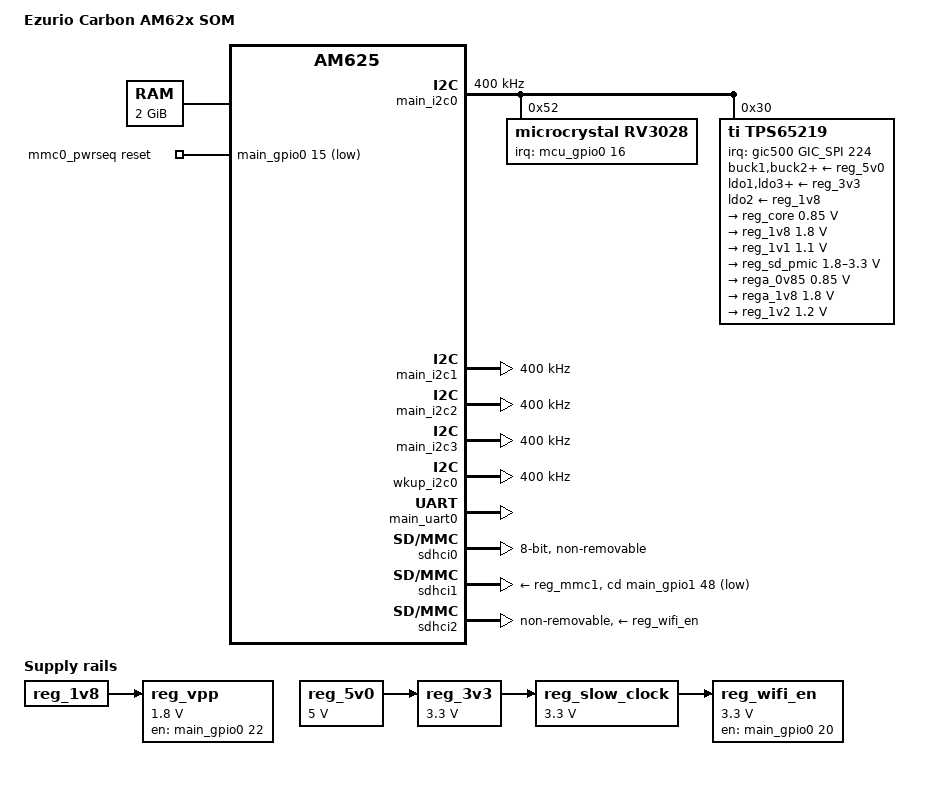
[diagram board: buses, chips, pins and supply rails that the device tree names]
// SPDX-License-Identifier: GPL-2.0
/*
 * AM625 Carbon SOM
 *
 * Copyright (C) 2024 Ezurio LLC
 */

/dts-v1/;

#include <dt-bindings/gpio/gpio.h>
#include <dt-bindings/input/input.h>
#include <dt-bindings/input/gpio-keys.h>

#include "k3-am625.dtsi"

/ {
	compatible = "summit,carbon-am62x", "ti,am625";
	model = "Ezurio Carbon AM62x SOM";

	aliases {
		serial0 = &wkup_uart0;		/* UART_C */
		serial2 = &main_uart0;		/* UART_CON */
		serial3 = &main_uart1;		/* BT */
		serial4 = &main_uart6;		/* UART_A */
		serial5 = &mcu_uart0;		/* UART_B */
		serial6 = &main_uart4;		/* UART_D */
		mmc0 = &sdhci0;			/* EMMC */
		mmc1 = &sdhci1;			/* SD */
		mmc2 = &sdhci2;			/* WIFI */
		spi0 = &ospi0;			/* SPI_A */
		spi1 = &main_spi0;		/* SPI_B */
		spi2 = &mcu_spi0;		/* SPI_C */
		ethernet0 = &cpsw_port1;	/* ETH_A */
		ethernet1 = &cpsw_port2;	/* ETH_B */
		can0 = &main_mcan0;		/* CAN_A */
		can1 = &mcu_mcan0;		/* CAN_B */
		usb0 = &usb0;			/* USB_A */
		usb1 = &usb1;			/* USB_B */
		gpio0 = &main_gpio0;
		gpio1 = &main_gpio1;
		gpio2 = &mcu_gpio0;
		rtc0 = &rv3028;
		rtc1 = &wkup_rtc0;
	};

	chosen {
		stdout-path = "serial2:115200n8";
	};

	opp-table {
		/* Add 1.4GHz OPP for am625-carbon board. Requires VDD_CORE to be at 0.85V */
		opp-1400000000 {
			opp-hz = /bits/ 64 <1400000000>;
			opp-supported-hw = <0x01 0x0004>;
			clock-latency-ns = <6000000>;
		};
	};

	memory@80000000 {
		device_type = "memory";
		/* 2G RAM */
		reg = <0x00000000 0x80000000 0x00000000 0x80000000>;
	};

	reserved_memory: reserved-memory {
		#address-cells = <2>;
		#size-cells = <2>;
		ranges;

		ramoops@9c700000 {
			compatible = "ramoops";
			reg = <0x00 0x9c700000 0x00 0x00100000>;
			record-size = <0x8000>;
			console-size = <0x8000>;
			ftrace-size = <0x00>;
			pmsg-size = <0x8000>;
		};

		/* global cma region */
		linux,cma {
			compatible = "shared-dma-pool";
			reusable;
			size = <0x00 0x20000000>;
			linux,cma-default;
		};

		rtos_ipc_memory_region: ipc-memories@9c800000 {
			compatible = "shared-dma-pool";
			reg = <0x00 0x9c800000 0x00 0x00300000>;
			no-map;
		};

		mcu_m4fss_dma_memory_region: m4f-dma-memory@9cb00000 {
			compatible = "shared-dma-pool";
			reg = <0x00 0x9cb00000 0x00 0x100000>;
			no-map;
		};

		mcu_m4fss_memory_region: m4f-memory@9cc00000 {
			compatible = "shared-dma-pool";
			reg = <0x00 0x9cc00000 0x00 0xe00000>;
			no-map;
		};

		wkup_r5fss0_core0_dma_memory_region: r5f-dma-memory@9da00000 {
			compatible = "shared-dma-pool";
			reg = <0x00 0x9da00000 0x00 0x100000>;
			no-map;
		};

		wkup_r5fss0_core0_memory_region: r5f-memory@9db00000 {
			compatible = "shared-dma-pool";
			reg = <0x00 0x9db00000 0x00 0xc00000>;
			no-map;
		};

		secure_tfa_ddr: tfa@9e780000 {
			reg = <0x00 0x9e780000 0x00 0x80000>;
			alignment = <0x1000>;
			no-map;
		};

		secure_ddr: optee@9e800000 {
			reg = <0x00 0x9e800000 0x00 0x01800000>; /* for OP-TEE */
			alignment = <0x1000>;
			no-map;
		};
	};

	idle-states {
		entry-method = "psci";

		CPU_SLEEP_0: stby {
			compatible = "arm,idle-state";
			idle-state-name = "standby";
			arm,psci-suspend-param = <0x00000001>;
			entry-latency-us = <100>;
			exit-latency-us = <50>;
			min-residency-us = <1000>;
		};
	};

	reg_5v0: regulator-5v0 {
		/* VCC_IN_5V */
		compatible = "regulator-fixed";
		regulator-name = "reg_5v0";
		regulator-min-microvolt = <5000000>;
		regulator-max-microvolt = <5000000>;
		regulator-always-on;
		regulator-boot-on;
	};

	reg_3v3: regulator-3v3 {
		/* output of U4 */
		compatible = "regulator-fixed";
		regulator-name = "reg_3v3";
		vin-supply = <&reg_5v0>;
		regulator-min-microvolt = <3300000>;
		regulator-max-microvolt = <3300000>;
		regulator-always-on;
		regulator-boot-on;
	};

	reg_vpp: regulator-vpp {
		/* TCK107AG,LF U5 */
		compatible = "regulator-fixed";
		regulator-name = "reg_vpp";
		vin-supply = <&reg_1v8>;
		regulator-min-microvolt = <1800000>;
		regulator-max-microvolt = <1800000>;

		pinctrl-names = "default";
		pinctrl-0 = <&main_vpp_en_pins_default>;
		gpios = <&main_gpio0 22 GPIO_ACTIVE_HIGH>;
		enable-active-high;
	};

	reg_vsel_mmc1: regulator-vsel-mmc1 {
		/* Output of U3 TPS6521920WRHBRQ1 VLDO1 */
		compatible = "regulator-gpio";

		vin-supply = <&reg_sd_pmic>;

		regulator-name = "reg_vsel_mmc1";
		regulator-min-microvolt = <1800000>;
		regulator-max-microvolt = <3300000>;

		pinctrl-names = "default";
		pinctrl-0 = <&main_vsel_mmc1_pins_default>;
		gpios = <&main_gpio0 31 GPIO_ACTIVE_LOW>;

		/* initial state must be 3.3V */
		states = <3300000 0x0>, <1800000 0x1>;
		status = "disabled";
	};

	reg_mmc1: regulator-mmc1 {
		compatible = "regulator-fixed";

		regulator-name = "reg_mmc1";
		regulator-min-microvolt = <3300000>;
		regulator-max-microvolt = <3300000>;

		pinctrl-names = "default";
		pinctrl-0 = <&main_mmc1_power_en_default>;
		gpios = <&main_gpio0 25 GPIO_ACTIVE_HIGH>;

		enable-active-high;
		startup-delay-us = <5000>;
		status = "disabled";
	};

	clk_cam_a_hw: clk-cam-a-hw {
		compatible = "pwm-clock";
		status = "disabled";
		#clock-cells = <0>;
		clock-frequency = <24000000>;
		clock-output-names = "clk_cam_a_hw";
		pwms = <&ecap2 0 42 0>; /* 1 / 42 ns = 24 MHz */
	};

	mmc0_pwrseq: pwrseq {
		pinctrl-names = "default";
		pinctrl-0 = <&main_mmc0_reset_pins_default>;

		compatible = "mmc-pwrseq-emmc";
		reset-gpios = <&main_gpio0 15 GPIO_ACTIVE_LOW>;
	};

	reg_slow_clock: regulator-slow-clock {
		compatible = "regulator-fixed-clock";

		regulator-name = "reg_slow_clock";
		regulator-min-microvolt = <3300000>;
		regulator-max-microvolt = <3300000>;

		vin-supply = <&reg_3v3>;
		clocks = <&k3_clks 157 158>;

		startup-delay-us = <1000>;

		pinctrl-names = "default";
		pinctrl-0 = <&mcu_clkout_pins_default>;

		assigned-clocks = <&k3_clks 157 158>;
		assigned-clock-parents = <&k3_clks 157 160>;
	};

	reg_wifi_en: regulator-wifi-en {
		compatible = "regulator-fixed";

		regulator-name = "reg_wifi_en";
		regulator-min-microvolt = <3300000>;
		regulator-max-microvolt = <3300000>;

		vin-supply = <&reg_slow_clock>;

		pinctrl-names = "default";
		pinctrl-0 = <&main_wifi_en_pins_default>;
		gpios = <&main_gpio0 20 GPIO_ACTIVE_HIGH>;
		enable-active-high;

		startup-delay-us = <250000>;
		off-on-delay-us = <100>;
	};

	wifi_wakeup: wifi-wakeup {
		compatible = "gpio-keys";

		status = "disabled";

		pinctrl-names = "default";
		pinctrl-0 = <&main_wifi_wake_default>, <&main_bt_wake_pins_default>;

		wifi-wake {
			label = "Wi-Fi Wake Up";
			linux,code = <KEY_WAKEUP>;
			wakeup-source;

			interrupts-extended = <&main_gpio0 16 IRQ_TYPE_EDGE_FALLING>,
				<&main_pmx0 0x040>;
			interrupt-names = "irq", "wakeup";

			//gpios = <&main_gpio0 16 GPIO_ACTIVE_LOW>;
			//wakeup-event-action = <EV_ACT_ASSERTED>;
		};

		bt-wake {
			label = "BT Wake Up";
			linux,code = <KEY_WAKEUP>;
			wakeup-source;

			interrupts-extended = <&main_gpio0 42 IRQ_TYPE_EDGE_FALLING>,
				<&main_pmx0 0x0ac>;
			interrupt-names = "irq", "wakeup";

			//gpios = <&main_gpio0 42 GPIO_ACTIVE_LOW>;
			//wakeup-event-action = <EV_ACT_ASSERTED>;
		};
	};
};

&cpu0 {
	cpu-idle-states = <&CPU_SLEEP_0>;
};

&cpu1 {
	cpu-idle-states = <&CPU_SLEEP_0>;
};

&cpu2 {
	cpu-idle-states = <&CPU_SLEEP_0>;
};

&cpu3 {
	cpu-idle-states = <&CPU_SLEEP_0>;
};

&cpsw3g {
	pinctrl-names = "default";
	pinctrl-0 = <&main_rgmii1_pins_default>, <&main_rgmii2_pins_default>;

	status = "disabled";

	cpts@3d000 {
		/* MAP HW3_TS_PUSH to GENF1 */
		ti,pps = <2 1>;
	};
};

&cpsw_port1 {
	status = "disabled";
	phy-mode = "rgmii-rxid";

	/delete-property/ mac-address;
	/delete-property/ ti,syscon-efuse;
	nvmem-cells = <&eth_mac0>;
	nvmem-cell-names = "mac-address";
};

&cpsw_port2 {
	status = "disabled";
	phy-mode = "rgmii-rxid";

	/delete-property/ mac-address;
	/delete-property/ ti,syscon-efuse;
	nvmem-cells = <&eth_mac1>;
	nvmem-cell-names = "mac-address";
};

&cpsw3g_mdio {
	pinctrl-names = "default";
	pinctrl-0 = <&main_mdio0_pins_default>;
};

&epwm0 { /* PWM_0 */
	pinctrl-names = "default";
	pinctrl-0 = <&main_epwm0_pins_default>;
};

&epwm1 { /* PWM_1 and PWM_2 */
	pinctrl-names = "default";
	pinctrl-0 = <&main_epwm1_pins_default>;
};

&ecap2 { /* CAM_A_MCK */
	/* ECAP in APWM mode */
	pinctrl-names = "default";
	pinctrl-0 = <&main_ecap2_pins_default>;
};

&mailbox0_cluster0 {
	mbox_m4_0: mbox-m4-0 {
		ti,mbox-rx = <0 0 0>;
		ti,mbox-tx = <1 0 0>;
	};

	mbox_r5_0: mbox-r5-0 {
		ti,mbox-rx = <2 0 0>;
		ti,mbox-tx = <3 0 0>;
	};
};

&mcu_m4fss {
	mboxes = <&mailbox0_cluster0 &mbox_m4_0>;
	memory-region = <&mcu_m4fss_dma_memory_region>,
			<&mcu_m4fss_memory_region>;
};

&wkup_r5fss0_core0 {
	mboxes = <&mailbox0_cluster0 &mbox_r5_0>;
	memory-region = <&wkup_r5fss0_core0_dma_memory_region>,
			<&wkup_r5fss0_core0_memory_region>;
};

&main_rti1 {
	status = "disabled";
};

&main_rti2 {
	status = "disabled";
};

&main_rti3 {
	status = "disabled";
};

&main_rti15 {
	status = "disabled";
};

&main_gpio0 {
	gpio-line-names =
		"","ETH_A_INT","ETH_A_RST","","", 		/* 0 - 4 */
		"","","","","",
		"","","","GPIO_A_0","RGB_VDD_EN",			/* 10 - 14 */
		"EMMC_RESET#","WIFI_WAKE","USB_B_ID","RGB_CS","RGB_RESET#",
		"W_DISABLE1#","W_DISABLE2#","VPP_EN","","",	/* 20 - 24 */
		"SDIO_A_PWR_EN","","","","CAM_A_RST",
		"LVDS_D_VDD_EN","SDIO_A_IOPWR","","LVDS_D_BL_EN","",		/* 30 - 34 */
		"","GPIO_B_3","","GPIO_B_2","ETH_B_RST",
		"","ETH_B_INT","BT_HOST_WAKE","","",		/* 40 - 44 */
		"","","","","",
		"","","","","",					/* 50 - 54 */
		"","","","","",
		"","","","","",					/* 60 - 64 */
		"","","","","",
		"","RGB_BL_EN","CAM_A_PWR","","",				/* 70 - 74 */
		"","","","","",
		"","","","","",					/* 80 - 84 */
		"","","","","",
		"","";						/* 90 - 91 */
};

&main_gpio1 {
	gpio-line-names =
		"","","","","",					/* 0 - 4 */
		"","","","","",
		"","","","","",				/* 10 - 14 */
		"","","","","",
		"","","","","",					/* 20 - 24 */
		"","","","","",
		"USB_A_ID","","","","",					/* 30 - 34 */
		"","","","","",
		"","","","","",					/* 40 - 44 */
		"","","","SDIO_A_CD#","",
		"USB_A_EN","USB_B_EN";						/* 50 - 51 */
};

&main_i2c0 {
	status = "okay";

	pinctrl-names = "default";
	pinctrl-0 = <&main_i2c0_pins_default>;
	clock-frequency = <400000>;

	rv3028: rtc@52 {
		compatible = "microcrystal,rv3028";
		reg = <0x52>;

		pinctrl-names = "default";
		pinctrl-0 = <&mcu_rtc_pins_default>;
		interrupts-extended = <&mcu_gpio0 16 IRQ_TYPE_EDGE_FALLING>;
		interrupt-names = "irq";
		wakeup-source;

		#clock-cells = <0>;

		eeprom {
			compatible = "microcrystal,rv3028-eeprom";
			#address-cells = <1>;
			#size-cells = <1>;

			eth_mac0: mac-address@0 {
				reg = <0x00 0x06>;
			};

			eth_mac1: mac-address@6 {
				reg = <0x06 0x06>;
			};

			ram_type: ram-type@c {
				reg = <0x0c 0x02>;
			};

			radio_type: radio-type@e {
				reg = <0x0e 0x02>;
			};
		};
	};

	tps65219: pmic@30 {
		compatible = "ti,tps65219";
		reg = <0x30>;
		buck1-supply = <&reg_5v0>;
		buck2-supply = <&reg_5v0>;
		buck3-supply = <&reg_5v0>;
		ldo1-supply = <&reg_3v3>;
		ldo2-supply = <&reg_1v8>;
		ldo3-supply = <&reg_3v3>;
		ldo4-supply = <&reg_3v3>;

		pinctrl-names = "default";
		pinctrl-0 = <&main_pmic_irq_pins_default>;

		interrupts-extended = <&gic500 GIC_SPI 224 IRQ_TYPE_LEVEL_HIGH>;

		system-power-controller;
		ti,power-button;

		regulators {
			reg_core: buck1 {
				regulator-name = "reg_core";
				regulator-min-microvolt = <850000>;
				regulator-max-microvolt = <850000>;
				regulator-boot-on;
				regulator-always-on;
			};

			reg_1v8: buck2 {
				regulator-name = "reg_1v8";
				regulator-min-microvolt = <1800000>;
				regulator-max-microvolt = <1800000>;
				regulator-boot-on;
				regulator-always-on;
			};

			reg_1v1: buck3 {
				regulator-name = "reg_1v1";
				regulator-min-microvolt = <1100000>;
				regulator-max-microvolt = <1100000>;
				regulator-boot-on;
				regulator-always-on;
			};

			reg_sd_pmic: ldo1 {
				/*
				 * Regulator is left as is unused, vdd_sd
				 * is controlled via GPIO with bypass config
				 * as per the NVM configuration
				 */
				regulator-name = "reg_sd_pmic";
				regulator-min-microvolt = <1800000>;
				regulator-max-microvolt = <3300000>;
				regulator-allow-bypass;
				regulator-boot-on;
				regulator-always-on;
			};

			rega_0v85: ldo2 {
				regulator-name = "rega_0v85";
				regulator-min-microvolt = <850000>;
				regulator-max-microvolt = <850000>;
				regulator-boot-on;
				regulator-always-on;
			};

			rega_1v8: regulator-u3-ldo3 {
				regulator-name = "rega_1v8";
				regulator-min-microvolt = <1800000>;
				regulator-max-microvolt = <1800000>;
				regulator-boot-on;
				regulator-always-on;
			};

			reg_1v2: ldo4 {
				regulator-name = "reg_1v2";
				regulator-min-microvolt = <1200000>;
				regulator-max-microvolt = <1200000>;
				regulator-boot-on;
				regulator-always-on;
			};
		};
	};
};

&main_i2c1 {
	/* I2C_A */
	pinctrl-names = "default";
	pinctrl-0 = <&main_i2c1_pins_default>;
	clock-frequency = <400000>;
};

&main_i2c2 {
	/* I2C_B */
	pinctrl-names = "default";
	pinctrl-0 = <&main_i2c2_pins_default>;
	clock-frequency = <400000>;
};

&main_i2c3 {
	/* I2C_CAM */
	pinctrl-names = "default";
	pinctrl-0 = <&main_i2c3_pins_default>;
	clock-frequency = <400000>;
};

&wkup_i2c0 {
	/* I2C_C/I2C_DISP */
	pinctrl-names = "default";
	pinctrl-0 = <&wkup_i2c0_pins_default>;
	clock-frequency = <400000>;
};

&main_mcan0 {
	/* CAN_A */
	pinctrl-names = "default";
	pinctrl-0 = <&main_mcan0_pins_default>;
};

&main_pmx0 {
	main_ecap2_pins_default: main-ecap2-default-pins {
		pinctrl-single,pins = <
			AM62X_IOPAD(0x1a4, PIN_OUTPUT, 2) /* CAM_A_MCK (B20) MCASP0_ACLKX.ECAP2_IN_APWM_OUT */
		>;
	};

	main_epwm0_pins_default: main-epwm0-default-pins {
		pinctrl-single,pins = <
			AM62X_IOPAD(0x1b8, PIN_OUTPUT, 2) /* PWM_0 (C13) SPI0_CS1.EHRPWM0_B */
		>;
	};

	main_epwm1_pins_default: main-epwm1-default-pins {
		pinctrl-single,pins = <
			AM62X_IOPAD(0x19c, PIN_OUTPUT, 6) /* LVDS_D_BL_PWM/PWM_1 (B18) MCASP0_AXR1.EHRPWM1_A */
			AM62X_IOPAD(0x1a0, PIN_OUTPUT, 6) /* RGB_BL_PWM/LVDS_E_BL_PWM/PWM_2 (E18) MCASP0_AXR0.EHRPWM1_B */
		>;
	};

	main_i2c0_pins_default: main-i2c0-default-pins {
		pinctrl-single,pins = <
			AM62X_IOPAD(0x1e0, PIN_INPUT_PULLUP, 0) /* (B16) I2C0_SCL */
			AM62X_IOPAD(0x1e4, PIN_INPUT_PULLUP, 0) /* (A16) I2C0_SDA */
		>;
	};

	main_i2c1_pins_default: main-i2c1-default-pins {
		pinctrl-single,pins = <
			AM62X_IOPAD(0x1e8, PIN_INPUT_PULLUP, 0) /* I2C_A_SCL (B17) I2C1_SCL */
			AM62X_IOPAD(0x1ec, PIN_INPUT_PULLUP, 0) /* I2C_A_SDA (A17) I2C1_SDA */
		>;
	};

	main_i2c2_pins_default: main-i2c2-default-pins {
		pinctrl-single,pins = <
			AM62X_IOPAD(0x0b0, PIN_INPUT_PULLUP, 1) /* I2C_B_SCL (K22) GPMC0_CSn2.I2C2_SCL */
			AM62X_IOPAD(0x0b4, PIN_INPUT_PULLUP, 1) /* I2C_B_SDA (K24) GPMC0_CSn3.I2C2_SDA */
		>;
	};

	main_i2c3_pins_default: main-i2c3-default-pins {
		pinctrl-single,pins = <
			AM62X_IOPAD(0x1d0, PIN_INPUT_PULLUP, 2) /* I2C_CAM_A_SCL (A15) UART0_CTSn.I2C3_SCL */
			AM62X_IOPAD(0x1d4, PIN_INPUT_PULLUP, 2) /* I2C_CAM_A_SDA (B15) UART0_RTSn.I2C3_SDA */
		>;
	};

	main_vpp_en_pins_default: main-vpp-en-default-pins {
		pinctrl-single,pins = <
			AM62X_IOPAD(0x058, PIN_OUTPUT, 7) /* VPP_EN (R23) GPMC0_AD7.GPIO0_22 */
		>;
	};

	main_mmc0_reset_pins_default: main-mmc0-reset-default-pins {
		pinctrl-single,pins = <
			AM62X_IOPAD(0x03c, PIN_INPUT, 7) /* (M25) GPMC0_AD0.GPIO0_15 */
		>;
	};

	main_mmc0_pins_default: main-mmc0-default-pins {
		pinctrl-single,pins = <
			AM62X_IOPAD(0x220, PIN_INPUT_PULLUP, 0) /* (Y3) MMC0_CMD */
			AM62X_IOPAD(0x218, PIN_OUTPUT, 0) /* (AB1) MMC0_CLK */
			AM62X_IOPAD(0x214, PIN_INPUT_PULLUP, 0) /* (AA2) MMC0_DAT0 */
			AM62X_IOPAD(0x210, PIN_INPUT_PULLUP, 0) /* (AA1) MMC0_DAT1 */
			AM62X_IOPAD(0x20c, PIN_INPUT_PULLUP, 0) /* (AA3) MMC0_DAT2 */
			AM62X_IOPAD(0x208, PIN_INPUT_PULLUP, 0) /* (Y4) MMC0_DAT3 */
			AM62X_IOPAD(0x204, PIN_INPUT_PULLUP, 0) /* (AB2) MMC0_DAT4 */
			AM62X_IOPAD(0x200, PIN_INPUT_PULLUP, 0) /* (AC1) MMC0_DAT5 */
			AM62X_IOPAD(0x1fc, PIN_INPUT_PULLUP, 0) /* (AD2) MMC0_DAT6 */
			AM62X_IOPAD(0x1f8, PIN_INPUT_PULLUP, 0) /* (AC2) MMC0_DAT7 */
			AM62X_IOPAD(0x21c, PIN_INPUT, 0) /* (#N/A) MMC0_CLKLB */
		>;
	};

	main_mmc1_pins_default: main-mmc1-default-pins {
		pinctrl-single,pins = <
			AM62X_IOPAD(0x23c, PIN_INPUT_PULLUP, 0) /* SDIO_A_CMD (A21) MMC1_CMD */
			AM62X_IOPAD(0x234, PIN_OUTPUT, 0) /* SDIO_A_CLK (B22) MMC1_CLK */
			AM62X_IOPAD(0x230, PIN_INPUT_PULLUP, 0) /* SDIO_A_D0 (A22) MMC1_DAT0 */
			AM62X_IOPAD(0x22c, PIN_INPUT_PULLUP, 0) /* SDIO_A_D1 (B21) MMC1_DAT1 */
			AM62X_IOPAD(0x228, PIN_INPUT_PULLUP, 0) /* SDIO_A_D2 (C21) MMC1_DAT2 */
			AM62X_IOPAD(0x224, PIN_INPUT_PULLUP, 0) /* SDIO_A_D3 (D22) MMC1_DAT3 */
			AM62X_IOPAD(0x240, PIN_INPUT_PULLUP, 7) /* SDIO_A_CD# (D17) MMC1_SDCD.GPIO1_48 */
			AM62X_IOPAD(0x238, PIN_INPUT, 0) /* (#N/A) MMC1_CLKLB */
		>;
	};

	main_mmc2_pins_default: main-mmc2-default-pins {
		pinctrl-single,pins = <
			AM62X_IOPAD(0x120, PIN_INPUT_PULLUP, 0) /* (C24) MMC2_CMD */
			AM62X_IOPAD(0x118, PIN_OUTPUT, 0) /* (D25) MMC2_CLK */
			AM62X_IOPAD(0x114, PIN_INPUT_PULLUP, 0) /* (B24) MMC2_DAT0 */
			AM62X_IOPAD(0x110, PIN_INPUT_PULLUP, 0) /* (C25) MMC2_DAT1 */
			AM62X_IOPAD(0x10c, PIN_INPUT_PULLUP, 0) /* (E23) MMC2_DAT2 */
			AM62X_IOPAD(0x108, PIN_INPUT_PULLUP, 0) /* (D24) MMC2_DAT3 */
			AM62X_IOPAD(0x11c, PIN_INPUT, 0) /* (#N/A) MMC2_CLKLB */
		>;
	};

	main_mdio0_pins_default: main-mdio0-default-pins {
		pinctrl-single,pins = <
			AM62X_IOPAD(0x160, PIN_OUTPUT, 0) /* ETH_A(B)_MDC (AD24) MDIO0_MDC */
			AM62X_IOPAD(0x15c, PIN_INPUT, 0) /* ETH_A(B)_MDIO (AB22) MDIO0_MDIO */
		>;
	};

	main_rgmii1_pins_default: main-rgmii1-default-pins {
		pinctrl-single,pins = <
			AM62X_IOPAD(0x14c, PIN_INPUT, 0) /* ETH_A_(S)(R)(G)MII_RXD0 (AB17) RGMII1_RD0 */
			AM62X_IOPAD(0x150, PIN_INPUT, 0) /* ETH_A_(S)(R)(G)MII_RXD1 (AC17) RGMII1_RD1 */
			AM62X_IOPAD(0x154, PIN_INPUT, 0) /* ETH_A_(S)(R)(G)MII_RXD2 (AB16) RGMII1_RD2 */
			AM62X_IOPAD(0x158, PIN_INPUT, 0) /* ETH_A_(S)(R)(G)MII_RXD3 (AA15) RGMII1_RD3 */
			AM62X_IOPAD(0x148, PIN_INPUT, 0) /* ETH_A_(R)(G)MII_RX_CLK (AD17) RGMII1_RXC */
			AM62X_IOPAD(0x144, PIN_INPUT, 0) /* ETH_A_(R)(G)MII_RX_DV(_ER) (AE17) RGMII1_RX_CTL */
			AM62X_IOPAD(0x134, PIN_OUTPUT, 0) /* ETH_A_(S)(R)(G)MII_TXD0 (AE20) RGMII1_TD0 */
			AM62X_IOPAD(0x138, PIN_OUTPUT, 0) /* ETH_A_(S)(R)(G)MII_TXD1 (AD20) RGMII1_TD1 */
			AM62X_IOPAD(0x13c, PIN_OUTPUT, 0) /* ETH_A_(S)(R)(G)MII_TXD2 (AE18) RGMII1_TD2 */
			AM62X_IOPAD(0x140, PIN_OUTPUT, 0) /* ETH_A_(S)(R)(G)MII_TXD3 (AD18) RGMII1_TD3 */
			AM62X_IOPAD(0x130, PIN_OUTPUT, 0) /* ETH_A_(R)(G)MII_TX_CLK (AE19) RGMII1_TXC */
			AM62X_IOPAD(0x12c, PIN_OUTPUT, 0) /* ETH_A_(R)(G)MII_TX_EN(_ER) (AD19) RGMII1_TX_CTL */
		>;
	};

	main_rgmii2_pins_default: main-rgmii2-default-pins {
		pinctrl-single,pins = <
			AM62X_IOPAD(0x184, PIN_INPUT, 0) /* ETH_B_(S)(R)(G)MII_RXD0 (AE23) RGMII2_RD0 */
			AM62X_IOPAD(0x188, PIN_INPUT, 0) /* ETH_B_(S)(R)(G)MII_RXD1 (AB20) RGMII2_RD1 */
			AM62X_IOPAD(0x18c, PIN_INPUT, 0) /* ETH_B_(S)(R)(G)MII_RXD2 (AC21) RGMII2_RD2 */
			AM62X_IOPAD(0x190, PIN_INPUT, 0) /* ETH_B_(S)(R)(G)MII_RXD3 (AE22) RGMII2_RD3 */
			AM62X_IOPAD(0x180, PIN_INPUT, 0) /* ETH_B_(R)(G)MII_RX_CLK (AD23) RGMII2_RXC */
			AM62X_IOPAD(0x17c, PIN_INPUT, 0) /* ETH_B_(R)(G)MII_RX_DV(_ER) (AD22) RGMII2_RX_CTL */
			AM62X_IOPAD(0x16c, PIN_OUTPUT, 0) /* ETH_B_(S)(R)(G)MII_TXD0 (Y18) RGMII2_TD0 */
			AM62X_IOPAD(0x170, PIN_OUTPUT, 0) /* ETH_B_(S)(R)(G)MII_TXD1 (AA18) RGMII2_TD1 */
			AM62X_IOPAD(0x174, PIN_OUTPUT, 0) /* ETH_B_(S)(R)(G)MII_TXD2 (AD21) RGMII2_TD2 */
			AM62X_IOPAD(0x178, PIN_OUTPUT, 0) /* ETH_B_(S)(R)(G)MII_TXD3 (AC20) RGMII2_TD3 */
			AM62X_IOPAD(0x168, PIN_OUTPUT, 0) /* ETH_B_(R)(G)MII_TX_CLK (AE21) RGMII2_TXC */
			AM62X_IOPAD(0x164, PIN_OUTPUT, 0) /* ETH_B_(R)(G)MII_TX_EN(_ER) (AA19) RGMII2_TX_CTL */
		>;
	};

	main_rmii1_pins_default: main-rmii1-default-pins {
		pinctrl-single,pins = <
			AM62X_IOPAD(0x014c, PIN_INPUT, 1) /* ETH_A_(S)(R)(G)MII_RXD0 (AB17) RGMII1_RD0.RMII1_RD0 */
			AM62X_IOPAD(0x0150, PIN_INPUT, 1) /* ETH_A_(S)(R)(G)MII_RXD1 (AC17) RGMII1_RD1.RMII1_RD1 */
			AM62X_IOPAD(0x0148, PIN_INPUT, 1) /* ETH_A_(R)(G)MII_RX_CLK (AD17) RGMII1_RXC.RMII1_REF_CLK */
			AM62X_IOPAD(0x0144, PIN_INPUT, 1) /* ETH_A_(R)(G)MII_RX_DV(_ER) (AE17) RGMII1_RX_CTL.RMII1_RX_ER */
			AM62X_IOPAD(0x0134, PIN_OUTPUT, 1) /* ETH_A_(S)(R)(G)MII_TXD0 (AE20) RGMII1_TD0.RMII1_TD0 */
			AM62X_IOPAD(0x0138, PIN_OUTPUT, 1) /* ETH_A_(S)(R)(G)MII_TXD1 (AD20) RGMII1_TD1.RMII1_TD1 */
			AM62X_IOPAD(0x0130, PIN_OUTPUT, 1) /* ETH_A_(R)(G)MII_TX_CLK (AE19) RGMII1_TXC.RMII1_CRS_DV */
			AM62X_IOPAD(0x012c, PIN_OUTPUT, 1) /* ETH_A_(R)(G)MII_TX_EN(_ER) (AD19) RGMII1_TX_CTL.RMII1_TX_EN */
		>;
	};

	main_rmii2_pins_default: main-rmii2-default-pins {
		pinctrl-single,pins = <
			AM62X_IOPAD(0x184, PIN_INPUT, 1) /* ETH_B_(S)(R)(G)MII_RXD0 (AE23) RGMII2_RD0.RMII2_RD0 */
			AM62X_IOPAD(0x188, PIN_INPUT, 1) /* ETH_B_(S)(R)(G)MII_RXD1 (AB20) RGMII2_RD1.RMII2_RD1 */
			AM62X_IOPAD(0x180, PIN_INPUT, 1) /* ETH_B_(R)(G)MII_RX_CLK (AD23) RGMII2_RXC.RMII2_REF_CLK */
			AM62X_IOPAD(0x17c, PIN_INPUT, 1) /* ETH_B_(R)(G)MII_RX_DV(_ER) (AD22) RGMII2_RX_CTL.RMII2_RX_ER */
			AM62X_IOPAD(0x16c, PIN_OUTPUT, 1) /* ETH_B_(S)(R)(G)MII_TXD0 (Y18) RGMII2_TD0.RMII2_TD0 */
			AM62X_IOPAD(0x170, PIN_OUTPUT, 1) /* ETH_B_(S)(R)(G)MII_TXD1 (AA18) RGMII2_TD1.RMII2_TD1 */
			AM62X_IOPAD(0x168, PIN_OUTPUT, 1) /* ETH_B_(R)(G)MII_TX_CLK (AE21) RGMII2_TXC.RMII2_CRS_DV */
			AM62X_IOPAD(0x164, PIN_OUTPUT, 1) /* ETH_B_(R)(G)MII_TX_EN(_ER) (AA19) RGMII2_TX_CTL.RMII2_TX_EN */
		>;
	};

	main_rgmii_phy0_gpio: main-rgmii-phy0-gpio-default-pins {
		pinctrl-single,pins = <
			AM62X_IOPAD(0x008, PIN_INPUT, 7) /* ETH_A_RST (J24) OSPI0_DQS.GPIO0_2 */
			AM62X_IOPAD(0x004, PIN_INPUT_PULLUP, 7) /* ETH_A_INT (G25) OSPI0_LBCLKO.GPIO0_1 */
		>;
	};

	main_rgmii_phy1_gpio: main-rgmii-phy1-gpio-default-pins {
		pinctrl-single,pins = <
			AM62X_IOPAD(0x0a0, PIN_INPUT, 7) /* ETH_B_RST (K25) GPMC0_WPn.GPIO0_39 */
			AM62X_IOPAD(0x0a8, PIN_INPUT_PULLUP, 7) /* ETH_B_INT (M21) GPMC0_CSn0.GPIO0_41 */
		>;
	};

	main_usb0_en_pins_default: main-usb0-en-default-pins {
		pinctrl-single,pins = <
			AM62X_IOPAD(0x254, PIN_OUTPUT, 0) /* USB_A_EN (C20) USB0_DRVVBUS */
		>;
	};

	main_usb1_en_pins_default: main-usb1-en-default-pins {
		pinctrl-single,pins = <
			AM62X_IOPAD(0x258, PIN_OUTPUT, 0) /* USB_B_EN (F18) USB1_DRVVBUS */
		>;
	};

	main_usb0_id_pins_default: main-usb0-id-default-pins {
		pinctrl-single,pins = <
			AM62X_IOPAD(0x1f0, PIN_INPUT_PULLUP, 7) /* USB_A_ID (A18) EXT_REFCLK1.GPIO1_30 */
		>;
	};

	main_usb1_id_pins_default: main-usb1-id-default-pins {
		pinctrl-single,pins = <
			AM62X_IOPAD(0x044, PIN_INPUT_PULLUP, 7) /* USB_B_ID (N24) GPMC0_AD2.GPIO0_17 */
		>;
	};

	main_mcasp1_pins_default: main-mcasp1-default-pins {
		pinctrl-single,pins = <
			AM62X_IOPAD(0x084, PIN_INPUT, 2) /* I2S_A_DATA_IN (L23) GPMC0_ADVN_ALE.MCASP1_AXR2 */
			AM62X_IOPAD(0x08c, PIN_OUTPUT, 2) /* I2S_A_DATA_OUT (L25) GPMC0_WEN.MCASP1_AXR0 */
			AM62X_IOPAD(0x090, PIN_INPUT, 2) /* I2S_A_BITCLK (M24) GPMC0_BE0N_CLE.MCASP1_ACLKX - Clock Transmit */
			AM62X_IOPAD(0x098, PIN_INPUT, 2) /* I2S_A_LRCLK (U23) GPMC0_WAIT0.MCASP1_AFSX - Frame Transmit */
		>;
	};

	main_dss0_pins_default: main-dss0-default-pins {
		pinctrl-single,pins = <
			AM62X_IOPAD(0x100, PIN_OUTPUT, 0) /* RGB_VSYNC (AC25) VOUT0_VSYNC */
			AM62X_IOPAD(0x0f8, PIN_OUTPUT, 0) /* RGB_HSYNC (AB24) VOUT0_HSYNC */
			AM62X_IOPAD(0x104, PIN_OUTPUT, 0) /* RGB_(PIXEL)CLK (AC24) VOUT0_PCLK */
			AM62X_IOPAD(0x0fc, PIN_OUTPUT, 0) /* RGB_DE (Y20) VOUT0_DE */
			AM62X_IOPAD(0x0b8, PIN_OUTPUT, 0) /* RGB_B0 (U22) VOUT0_DATA0 */
			AM62X_IOPAD(0x0bc, PIN_OUTPUT, 0) /* RGB_B1 (V24) VOUT0_DATA1 */
			AM62X_IOPAD(0x0c0, PIN_OUTPUT, 0) /* RGB_B2 (W25) VOUT0_DATA2 */
			AM62X_IOPAD(0x0c4, PIN_OUTPUT, 0) /* RGB_B3 (W24) VOUT0_DATA3 */
			AM62X_IOPAD(0x0c8, PIN_OUTPUT, 0) /* RGB_B4 (Y25) VOUT0_DATA4 */
			AM62X_IOPAD(0x0cc, PIN_OUTPUT, 0) /* RGB_B5 (Y24) VOUT0_DATA5 */
			AM62X_IOPAD(0x0d0, PIN_OUTPUT, 0) /* RGB_G0 (Y23) VOUT0_DATA6 */
			AM62X_IOPAD(0x0d4, PIN_OUTPUT, 0) /* RGB_G1 (AA25) VOUT0_DATA7 */
			AM62X_IOPAD(0x0d8, PIN_OUTPUT, 0) /* RGB_G2 (V21) VOUT0_DATA8 */
			AM62X_IOPAD(0x0dc, PIN_OUTPUT, 0) /* RGB_G3 (W21) VOUT0_DATA9 */
			AM62X_IOPAD(0x0e0, PIN_OUTPUT, 0) /* RGB_G4 (V20) VOUT0_DATA10 */
			AM62X_IOPAD(0x0e4, PIN_OUTPUT, 0) /* RGB_G5 (AA23) VOUT0_DATA11 */
			AM62X_IOPAD(0x0e8, PIN_OUTPUT, 0) /* RGB_R0 (AB25) VOUT0_DATA12 */
			AM62X_IOPAD(0x0ec, PIN_OUTPUT, 0) /* RGB_R1 (AA24) VOUT0_DATA13 */
			AM62X_IOPAD(0x0f0, PIN_OUTPUT, 0) /* RGB_R2 (Y22) VOUT0_DATA14 */
			AM62X_IOPAD(0x0f4, PIN_OUTPUT, 0) /* RGB_R3 (AA21) VOUT0_DATA15 */
			AM62X_IOPAD(0x05c, PIN_OUTPUT, 1) /* RGB_R4 (R24) GPMC0_AD8.VOUT0_DATA16 */
			AM62X_IOPAD(0x060, PIN_OUTPUT, 1) /* RGB_R5 (R25) GPMC0_AD9.VOUT0_DATA17 */
		>;
	};

	main_mcan0_pins_default: main-mcan0-default-pins {
		pinctrl-single,pins = <
			AM62X_IOPAD(0x1d8, PIN_OUTPUT, 0) /* CAN_A_TX (C15) MCAN0_TX */
			AM62X_IOPAD(0x1dc, PIN_INPUT, 0) /* CAN_A_RX (E15) MCAN0_RX */
		>;
	};

	main_spi0_pins_default: main-spi0-default-pins {
		pinctrl-single,pins = <
			AM62X_IOPAD(0x1c0, PIN_INPUT, 0) /* SPI_B_SDI (B13) SPI0_D0 */
			AM62X_IOPAD(0x1c4, PIN_OUTPUT, 0) /* SPI_B_SDO (B14) SPI0_D1 */
			AM62X_IOPAD(0x1b4, PIN_INPUT, 0) /* SPI_B_CS0# (A13) SPI0_CS0 */
			AM62X_IOPAD(0x1b8, PIN_INPUT, 0) /* SPI_B_CS1# (C13) SPI0_CS1 */
			AM62X_IOPAD(0x1bc, PIN_INPUT, 0) /* SPI_B_SCK (A14) SPI0_CLK */
		>;
	};

	main_uart0_pins_default: main-uart0-default-pins {
		pinctrl-single,pins = <
			AM62X_IOPAD(0x1c8, PIN_INPUT_PULLUP, 0) /* UART_CON_RXD (D14) UART0_RXD */
			AM62X_IOPAD(0x1cc, PIN_OUTPUT, 0) /* UART_CON_TXD (E14) UART0_TXD */
		>;
	};

	main_uart1_pins_default: main-uart1-default-pins {
		pinctrl-single,pins = <
			AM62X_IOPAD(0x194, PIN_INPUT_PULLUP, 2) /* UART_BT_CTS (B19) MCASP0_AXR3.UART1_CTSn */
			AM62X_IOPAD(0x198, PIN_OUTPUT,       2) /* UART_BT_RTS (A19) MCASP0_AXR2.UART1_RTSn */
			AM62X_IOPAD(0x1ac, PIN_INPUT_PULLUP, 2) /* UART_BT_RXD (E19) MCASP0_AFSR.UART1_RXD  */
			AM62X_IOPAD(0x1b0, PIN_OUTPUT,       2) /* UART_BT_TXD (A20) MCASP0_ACLKR.UART1_TXD */
		>;
	};

	main_uart4_pins_default: main-uart4-default-pins {
		pinctrl-single,pins = <
			AM62X_IOPAD(0x06c, PIN_INPUT_PULLUP, 2) /* UART_D_RXD (T22) GPMC0_AD12.UART4_RXD */
			AM62X_IOPAD(0x070, PIN_OUTPUT, 2) /* UART_D_TXD (T24) GPMC0_AD13.UART4_TXD */
		>;
	};

	main_uart6_pins_default: main-uart6-default-pins {
		pinctrl-single,pins = <
			AM62X_IOPAD(0x028, PIN_INPUT_PULLUP, 3) /* UART_A_CTS (J22) OSPI0_D7.UART6_CTSn */
			AM62X_IOPAD(0x024, PIN_OUTPUT, 3) /* UART_A_RTS (H25) OSPI0_D6.UART6_RTSn */
			AM62X_IOPAD(0x01c, PIN_INPUT_PULLUP, 3) /* UART_A_RXD (J23) OSPI0_D4.UART6_RXD */
			AM62X_IOPAD(0x020, PIN_OUTPUT, 3) /* UART_A_TXD (J25) OSPI0_D5.UART6_TXD */
		>;
	};

	main_wifi_en_pins_default: main-wifi-en-default-pins {
		pinctrl-single,pins = <
			AM62X_IOPAD(0x050, PIN_INPUT, 7) /* W_DISABLE1# (P22) GPMC0_AD5.GPIO0_20 */
		>;
	};

	main_bt_en_pins_default: main-bt-en-default-pins {
		pinctrl-single,pins = <
			AM62X_IOPAD(0x054, PIN_INPUT, 7) /* W_DISABLE2# (P21) GPMC0_AD6.GPIO0_21 */
		>;
	};

	main_wifi_wake_default: main-wifi-wake-default-pins {
		pinctrl-single,pins = <
			AM62X_IOPAD(0x040, PIN_INPUT_PULLUP, 7) /* SDIO_WAKE# (N23) GPMC0_AD1.GPIO0_16 */
		>;
	};

	main_bt_wake_pins_default: main-bt-wake-default-pins {
		pinctrl-single,pins = <
			AM62X_IOPAD(0x0ac, PIN_INPUT_PULLUP, 7) /* BT_HOST_WAKE (L21) GPMC0_CSn1.GPIO0_42 */
		>;
	};

	main_pmic_irq_pins_default: main-pmic-irq-default-pins {
		pinctrl-single,pins = <
			AM62X_IOPAD(0x1f4, PIN_INPUT, 0) /* (D16) EXTINTn */
		>;
	};

	main_ospi0_pins_default: main-ospi0-default-pins {
		pinctrl-single,pins = <
			AM62X_IOPAD(0x000, PIN_OUTPUT, 0) /* SPI_A_SCK (H24) OSPI0_CLK */
			AM62X_IOPAD(0x02c, PIN_OUTPUT, 0) /* SPI_A_CS0 (F23) OSPI0_CSn0 */
			AM62X_IOPAD(0x030, PIN_OUTPUT, 0) /* SPI_A_CS1 (G21) OSPI0_CSn1 */
			AM62X_IOPAD(0x00c, PIN_INPUT, 0) /* SPI_A_(SDI)IO0 (E25) OSPI0_D0 */
			AM62X_IOPAD(0x010, PIN_INPUT, 0) /* SPI_A_(SDO)IO1 (G24) OSPI0_D1 */
			AM62X_IOPAD(0x014, PIN_INPUT, 0) /* SPI_A_IO2 (F25) OSPI0_D2 */
			AM62X_IOPAD(0x018, PIN_INPUT, 0) /* SPI_A_IO3 (F24) OSPI0_D3 */
		>;
	};

	main_vsel_mmc1_pins_default: main-vsel-mmc1-default-pins {
		pinctrl-single,pins = <
			AM62X_IOPAD(0x07c, PIN_INPUT, 7) /* VSEL_SD (P25) GPMC0_CLK.GPIO0_31 */
		>;
	};

	main_mmc1_power_en_default: main-mmc1-power-en-default-pins {
		pinctrl-single,pins = <
			AM62X_IOPAD(0x064, PIN_INPUT_PULLUP, 7) /* SDIO_A_PWR_EN (T25) GPMC0_AD10.GPIO0_25 */
		>;
	};

	main_cam_a_pins_default: main-cam-a-default-pins {
		pinctrl-single,pins = <
			AM62X_IOPAD(0x128, PIN_INPUT, 7) /* CAM_A_PWR (B23) MMC2_SDWP.GPIO0_72 */
			AM62X_IOPAD(0x074, PIN_INPUT, 7) /* CAM_A_RST# (U25) GPMC0_AD14.GPIO0_29 */
		>;
	};

	main_rgb_power_default: main-rgb-power-default-pins {
		pinctrl-single,pins = <
			AM62X_IOPAD(0x038, PIN_INPUT, 7) /* RGB_VDD_EN (E24) OSPI0_CSn3.GPIO0_14 */
		>;
	};

	main_rgb_reset_default: main-rgb-reset-default-pins {
		pinctrl-single,pins = <
			AM62X_IOPAD(0x04c, PIN_INPUT, 7) /* RGB_RESET# (P24) GPMC0_AD4.GPIO0_19 */
		>;
	};

	main_rgb_backlight_en_default: main-rgb-backlight-en-default-pins {
		pinctrl-single,pins = <
			AM62X_IOPAD(0x124, PIN_INPUT, 7) /* RGB_BL_EN (A23) MMC2_SDCD.GPIO0_71 */
		>;
	};

	main_lvds_d_power_default: main-lvds-d-power-default-pins {
		pinctrl-single,pins = <
			AM62X_IOPAD(0x078, PIN_INPUT, 7) /* LVDS_D_VDD_EN (U24) GPMC0_AD15.GPIO0_30 */
		>;
	};

	main_lvds_d_backlight_en_default: main-lvds-d-backlight-en-default-pins {
		pinctrl-single,pins = <
			AM62X_IOPAD(0x088, PIN_INPUT, 7) /* LVDS_D_BL_EN (L17) GPMC0_OEn_REn.GPIO0_33 */
		>;
	};

	osm_gpio_a_0_pins_default: osm-gpio-a-0-default-pins {
		pinctrl-single,pins = <
			AM62X_IOPAD(0x034, PIN_INPUT, 7) /* GPIO_A_0 (H21) OSPI0_CSN2.GPIO0_13 */
		>;
	};

	osm_gpio_a_1_pins_default: osm-gpio-a-1-default-pins {
		pinctrl-single,pins = <
			AM62X_IOPAD(0x008, PIN_INPUT, 7) /* GPIO_A_1 (J24) OSPI0_DQS.GPIO0_2 */
		>;
	};

	osm_gpio_a_2_pins_default: osm-gpio-a-2-default-pins {
		pinctrl-single,pins = <
			AM62X_IOPAD(0x004, PIN_INPUT, 7) /* GPIO_A_2 (G25) OSPI0_LBCLKO.GPIO0_1 */
		>;
	};

	osm_gpio_a_6_pins_default: osm-gpio-a-6-default-pins {
		pinctrl-single,pins = <
			AM62X_IOPAD(0x030, PIN_INPUT, 7) /* GPIO_A_6 (G21) OSPI0_CSN1.GPIO0_12 */
		>;
	};

	osm_gpio_b_2_pins_default: osm-gpio-b-2-default-pins {
		pinctrl-single,pins = <
			AM62X_IOPAD(0x09c, PIN_INPUT, 7) /* GPIO_B_2 (V25) GPMC0_WAIT1.GPIO0_38 */
		>;
	};

	osm_gpio_b_3_pins_default: osm-gpio-b-3-default-pins {
		pinctrl-single,pins = <
			AM62X_IOPAD(0x094, PIN_INPUT, 7) /* GPIO_B_3 (N20) GPMC0_BE1N.GPIO0_36 */
		>;
	};

	osm_gpio_b_6_pins_default: osm-gpio-b-6-default-pins {
		pinctrl-single,pins = <
			AM62X_IOPAD(0x078, PIN_INPUT, 7) /* GPIO_B_6 (U24) GPMC0_AD15.GPIO0_30 */
		>;
	};

	osm_gpio_b_7_pins_default: osm-gpio-b-7-default-pins {
		pinctrl-single,pins = <
			AM62X_IOPAD(0x088, PIN_INPUT, 7) /* GPIO_B_7 (L17) GPMC0_OEn_REn.GPIO0_33 */
		>;
	};

	osm_gpio_c_0_pins_default: osm-gpio-c-0-default-pins {
		pinctrl-single,pins = <
			AM62X_IOPAD(0x0a0, PIN_INPUT, 7) /* GPIO_C_0 (K25) GPMC0_WPn.GPIO0_39 */
		>;
	};

	osm_gpio_c_1_pins_default: osm-gpio-c-1-default-pins {
		pinctrl-single,pins = <
			AM62X_IOPAD(0x0a8, PIN_INPUT, 7) /* GPIO_C_1 (M21) GPMC0_CSn0.GPIO0_41 */
		>;
	};

	osm_gpio_c_2_pins_default: osm-gpio-c-2-default-pins {
		pinctrl-single,pins = <
			AM62X_IOPAD(0x038, PIN_INPUT, 7) /* GPIO_C_2 (E24) OSPI0_CSn3.GPIO0_14 */
		>;
	};

	osm_gpio_c_3_pins_default: osm-gpio-c-3-default-pins {
		pinctrl-single,pins = <
			AM62X_IOPAD(0x124, PIN_INPUT, 7) /* GPIO_C_3 (A23) MMC2_SDCD.GPIO0_71 */
		>;
	};

	osm_gpio_c_6_pins_default: osm-gpio-c-6-default-pins {
		pinctrl-single,pins = <
			AM62X_IOPAD(0x128, PIN_INPUT, 7) /* GPIO_C_6 (B23) MMC2_SDWP.GPIO0_72 */
		>;
	};
	osm_gpio_c_7_pins_default: osm-gpio-c-7-default-pins {
		pinctrl-single,pins = <
			AM62X_IOPAD(0x074, PIN_INPUT, 7) /* GPIO_C_7 (U25) GPMC0_AD14.GPIO0_29 */
		>;
	};
};

&main_spi0 {
	/* SPI_B */
	pinctrl-names = "default";
	pinctrl-0 = <&main_spi0_pins_default>;
};

&main_uart0 {
	/* Console ttyS2 */
	status = "okay";

	pinctrl-names = "default";
	pinctrl-0 = <&main_uart0_pins_default>;
};

/* On-module Bluetooth */
&main_uart1 {
	/* BT (Also used by TIFS firmware) */
	status = "reserved";
	pinctrl-names = "default";
	pinctrl-0 = <&main_uart1_pins_default>;
	uart-has-rtscts;
};

&main_uart4 {
	/* UART_D */
	pinctrl-names = "default";
	pinctrl-0 = <&main_uart4_pins_default>;
};

&main_uart6 {
	/* UART_A */
	pinctrl-names = "default";
	pinctrl-0 = <&main_uart6_pins_default>;
};

&mcasp1 {
	#sound-dai-cells = <0>;

	pinctrl-names = "default";
	pinctrl-0 = <&main_mcasp1_pins_default>;

	op-mode = <0>;          /* MCASP_IIS_MODE */
	tdm-slots = <2>;

	serial-dir = <  /* 0: INACTIVE, 1: TX, 2: RX */
		   1 0 2 0
		   0 0 0 0
		   0 0 0 0
		   0 0 0 0
	>;
	tx-num-evt = <0>;
	rx-num-evt = <0>;
};

&mcu_gpio0 {
	gpio-line-names =
		"","","","","",						/* 0 - 4 */
		"","","","","",
		"","GPIO_B_1","GPIO_B_0","","",				/* 10 - 14 */
		"GPIO_A_3","rv3028_int","GPIO_A_4","GPIO_A_5","GPIO_B_4",
		"GPIO_B_5","","","";				/* 20 - 23 */
};

&mcu_pmx0 {
	wkup_uart0_pins_default: wkup-uart0-default-pins {
		pinctrl-single,pins = <
			AM62X_MCU_IOPAD(0x02c, PIN_INPUT_PULLUP, 0) /* UART_C_CTS (C6) WKUP_UART0_CTSn */
			AM62X_MCU_IOPAD(0x030, PIN_OUTPUT, 0) /* UART_C_RTS (A4) WKUP_UART0_RTSn */
			AM62X_MCU_IOPAD(0x024, PIN_INPUT_PULLUP, 0) /* UART_C_RXD (B4) WKUP_UART0_RXD */
			AM62X_MCU_IOPAD(0x028, PIN_OUTPUT, 0) /* UART_C_TXD (C5) WKUP_UART0_TXD */
		>;
	};

	wkup_i2c0_pins_default: wkup_i2c0-default-pins {
		pinctrl-single,pins = <
			AM62X_MCU_IOPAD(0x04c, PIN_INPUT_PULLUP, 0) /* GPIO_B_4/I2C_C_SCL/I2C_DISP_CLK (B9) WKUP_I2C0_SCL */
			AM62X_MCU_IOPAD(0x050, PIN_INPUT_PULLUP, 0) /* GPIO_B_5/I2C_C_SDA/I2C_DISP_DAT (A9) WKUP_I2C0_SDA */
		>;
	};

	mcu_mcan0_pins_default: mcu-mcan0-default-pins {
		pinctrl-single,pins = <
			AM62X_MCU_IOPAD(0x034, PIN_OUTPUT, 0) /* CAN_B_TX (D6) MCU_MCAN0_TX */
			AM62X_MCU_IOPAD(0x038, PIN_INPUT, 0) /* CAN_B_RX (B3) MCU_MCAN0_RX */
		>;
	};

	mcu_spi0_pins_default: mcu-spi0-default-pins {
		pinctrl-single,pins = <
			AM62X_MCU_IOPAD(0x000, PIN_OUTPUT, 0) /* SPI_C_CS0# (E8) MCU_SPI0_CS0 */
			AM62X_MCU_IOPAD(0x008, PIN_OUTPUT, 0) /* SPI_C_SCK (A7) MCU_SPI0_CLK */
			AM62X_MCU_IOPAD(0x00c, PIN_INPUT, 0) /* SPI_C_SDI (D9) MCU_SPI0_D0 */
			AM62X_MCU_IOPAD(0x010, PIN_OUTPUT, 0) /* SPI_C_SDO (C9) MCU_SPI0_D1 */
		>;
	};

	mcu_uart0_pins_default: mcu-uart0-default-pins {
		pinctrl-single,pins = <
			AM62X_MCU_IOPAD(0x01c, PIN_INPUT_PULLUP, 0) /* UART_B_CTS (A6) MCU_UART0_CTSn */
			AM62X_MCU_IOPAD(0x020, PIN_OUTPUT, 0) /* UART_B_RTS (B6) MCU_UART0_RTSn */
			AM62X_MCU_IOPAD(0x014, PIN_INPUT_PULLUP, 0) /* UART_B_RXD (B5) MCU_UART0_RXD */
			AM62X_MCU_IOPAD(0x018, PIN_OUTPUT, 0) /* UART_B_TXD (A5) MCU_UART0_TXD */
		>;
	};

	mcu_clkout_pins_default: mcu-clkout-default-pins {
		pinctrl-single,pins = <
			AM62X_MCU_IOPAD(0x084, PIN_OUTPUT, 0) /* (A12) WKUP_CLKOUT0 */
		>;
	};

	mcu_i2c0_pins_default: mcu-i2c0-default-pins {
		pinctrl-single,pins = <
			AM62X_MCU_IOPAD(0x044, PIN_INPUT_PULLUP, 0) /* (A8) MCU_I2C0_SCL.MCU_I2C0_SCL */
			AM62X_MCU_IOPAD(0x050, PIN_INPUT_PULLUP, 0) /* (A9) MCU_I2C0_SDA.MCU_I2C0_SDA */
		>;
	};

	mcu_rtc_pins_default: mcu-rtc-default-pins {
		pinctrl-single,pins = <
			AM62X_MCU_IOPAD(0x040, PIN_INPUT_PULLUP, 7) /* RTC_INT (D4) MCU_MCAN1_RX.MCU_GPIO0_16 */
		>;
	};

	osm_gpio_a_3_pins_default: osm-gpio-a-3-default-pins {
		pinctrl-single,pins = <
			AM62X_MCU_IOPAD(0x03c, PIN_INPUT, 7) /* GPIO_A_3 (E5) MCU_MCAN1_TX.GPIO0_15 */
		>;
	};

	osm_gpio_a_4_pins_default: osm-gpio-a-4-default-pins {
		pinctrl-single,pins = <
			AM62X_MCU_IOPAD(0x044, PIN_INPUT, 7) /* GPIO_A_4 (A8) MCU_I2C0_SCL.MCU_GPIO0_17 */
		>;
	};

	osm_gpio_a_5_pins_default: osm-gpio-a-5-default-pins {
		pinctrl-single,pins = <
			AM62X_MCU_IOPAD(0x048, PIN_INPUT, 7) /* GPIO_A_5 (D10) MCU_I2C0_SDA.MCU_GPIO0_18 */
		>;
	};

	osm_gpio_a_7_pins_default: osm-gpio-a-7-default-pins {
		pinctrl-single,pins = <
			AM62X_MCU_IOPAD(0x004, PIN_INPUT, 7) /* GPIO_A_7 (B8) MCU_SPI0_CS1.MCU_GPIO0_1 */
		>;
	};

	osm_gpio_b_0_pins_default: osm-gpio-b-0-default-pins {
		pinctrl-single,pins = <
			AM62X_MCU_IOPAD(0x030, PIN_INPUT, 7) /* GPIO_B_0 (A4) WKUP_UART0_RTSn.MCU_GPIO0_12 */
		>;
	};

	osm_gpio_b_1_pins_default: osm-gpio-b-1-default-pins {
		pinctrl-single,pins = <
			AM62X_MCU_IOPAD(0x02c, PIN_INPUT, 7) /* GPIO_B_1 (C6) WKUP_UART0_CTSn.MCU_GPIO0_11 */
		>;
	};

	osm_gpio_b_4_pins_default: osm-gpio-b-4-default-pins {
		pinctrl-single,pins = <
			AM62X_MCU_IOPAD(0x04c, PIN_INPUT, 0) /* GPIO_B_4 (B9) WKUP_I2C0_SCL.MCU_GPIO0_19 */
		>;
	};

	osm_gpio_b_5_pins_default: osm-gpio-b-5-default-pins {
		pinctrl-single,pins = <
			AM62X_MCU_IOPAD(0x050, PIN_INPUT, 0) /* GPIO_B_5 (A9) WKUP_I2C0_SDA.MCU_GPIO0_20 */
		>;
	};
};

&mcu_mcan0 {
	/* CAN_B */
	pinctrl-names = "default";
	pinctrl-0 = <&mcu_mcan0_pins_default>;
};

&mcu_uart0 {
	/* UART_B */
	pinctrl-names = "default";
	pinctrl-0 = <&mcu_uart0_pins_default>;
};

&mcu_spi0 {
	/* SPI_C */
	pinctrl-names = "default";
	pinctrl-0 = <&mcu_spi0_pins_default>;
};

&ospi0 {
	/* SPI_A Only 4 bits are routed out */
	pinctrl-names = "default";
	pinctrl-0 = <&main_ospi0_pins_default>;
};

&sdhci0 {
	/* eMMC */
	status = "okay";

	pinctrl-names = "default";
	pinctrl-0 = <&main_mmc0_pins_default>;

	mmc-pwrseq = <&mmc0_pwrseq>;
	disable-wp;
	non-removable;
	bus-width = <8>;

 	ti,fails-without-test-cd;
	ti,driver-strength-ohm = <50>;
};

&sdhci1 {
	/* SDIO_A */
	pinctrl-names = "default";
	pinctrl-0 = <&main_mmc1_pins_default>;

	vmmc-supply = <&reg_mmc1>; /* SDIO_A_PWR_EN */
	vqmmc-supply = <&reg_vsel_mmc1>; /* VSEL_SDI0_A */

	cd-gpios = <&main_gpio1 48 GPIO_ACTIVE_LOW>;
	ti,fails-without-test-cd;

	disable-wp;
	ti,driver-strength-ohm = <50>;
};

&sdhci2 {
	/* SDIO_B  WIFI */
	pinctrl-names = "default";
	pinctrl-0 = <&main_mmc2_pins_default>;

	vmmc-supply = <&reg_wifi_en>;
	vqmmc-supply = <&reg_1v8>;

	disable-wp;
	non-removable;
	ti,fails-without-test-cd;
	ti,driver-strength-ohm = <50>;
	keep-power-in-suspend;
};

&wkup_uart0 {
	/* WKUP UART0 (UART_C) is used by DM firmware */
	status = "reserved";
	pinctrl-names = "default";
	pinctrl-0 = <&wkup_uart0_pins_default>;
};

&gpu {
	status = "disabled";
};

&pru0 {
	status = "disabled";
};

&pru1 {
	status = "disabled";
};
